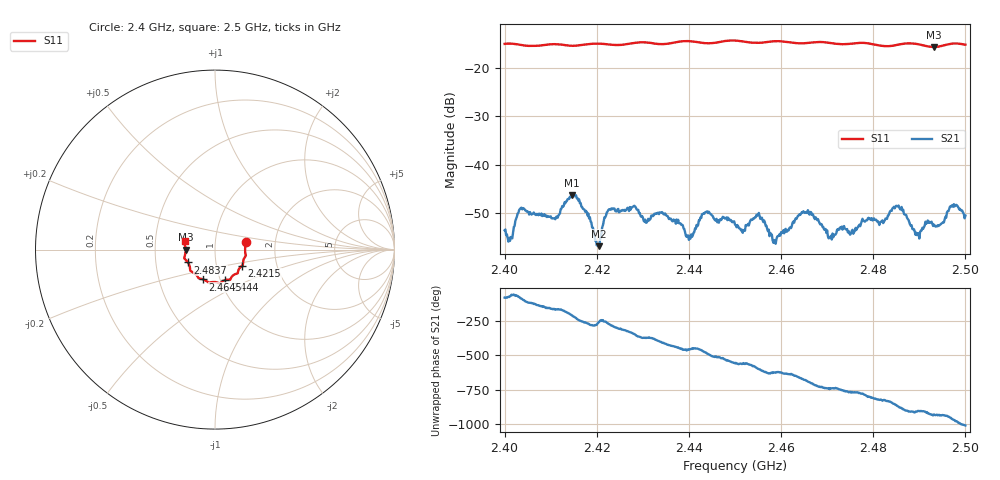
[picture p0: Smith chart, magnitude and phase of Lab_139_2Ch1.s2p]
# Hz S RI R 50
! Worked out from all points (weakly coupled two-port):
!   601 points, 2.4 GHz to 2.5 GHz, reference 50 ohm
!   highest |S21| = -46.32 dB at 2.4147 GHz (marker M1); lowest = -56.8 dB at 2.4205 GHz (marker M2)
!   lowest |S11| = -15.7 dB at 2.4932 GHz (marker M3), VSWR 1.39, Z = 35.9 - j0.0599 ohm
!   |S11| at or under -10 dB: start of sweep to end of sweep
!   S12 and S22 are empty: the file has one direction only
!   S11 on the Smith chart (normalised r, x): 2.4 GHz: 1.41, +0.12; 2.4215 GHz: 1.33, -0.25; 2.444 GHz: 1.06, -0.37; 2.4645 GHz: 0.83, -0.29; 2.4837 GHz: 0.73, -0.11; 2.5 GHz: 0.71, +0.07
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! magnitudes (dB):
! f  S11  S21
! 2.4 GHz  -15.1  -53.6
! 2.4013 GHz  -15.0  -54.9
! 2.4037 GHz  -15.3  -48.9
! 2.411 GHz  -15.1  -51.3
! 2.4147 GHz  -15.5  -46.3
! 2.4167 GHz  -15.3  -48.7
! 2.4205 GHz  -15.0  -56.8
! 2.4215 GHz  -15.1  -51.8
! 2.4333 GHz  -15.1  -50.0
! 2.4398 GHz  -14.5  -54.6
! 2.444 GHz  -15.0  -49.7
! 2.45 GHz  -14.4  -52.4
! 2.4552 GHz  -14.9  -50.0
! 2.4587 GHz  -14.5  -56.2
! 2.4645 GHz  -15.0  -49.8
! 2.4667 GHz  -14.8  -50.4
! 2.4708 GHz  -14.9  -54.7
! 2.4833 GHz  -15.6  -50.5
! 2.4837 GHz  -15.5  -49.6
! 2.4895 GHz  -15.1  -54.6
! 2.4932 GHz  -15.7  -52.4
! 2.5 GHz  -15.2  -50.5
